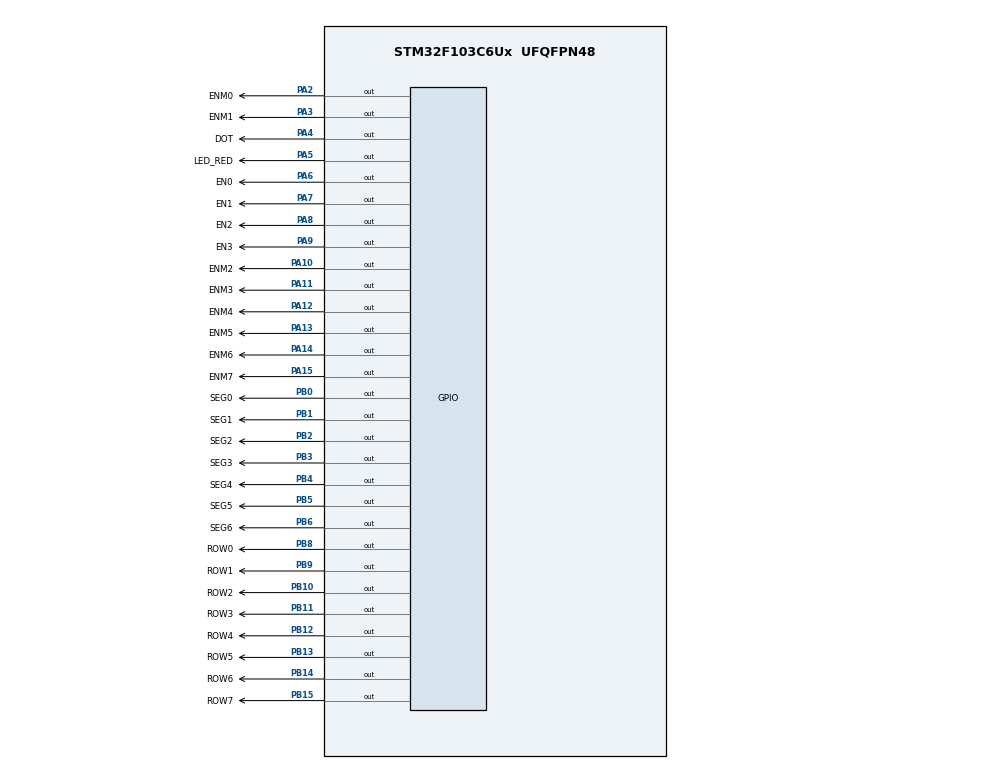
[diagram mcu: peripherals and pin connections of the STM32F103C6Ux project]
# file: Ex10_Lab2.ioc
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Mcu.Family=STM32F1
Mcu.Name=STM32F103C6Ux
Mcu.Package=UFQFPN48
NVIC.PriorityGroup=NVIC_PRIORITYGROUP_4
NVIC.TIM2_IRQn=true\:0\:0\:false\:false\:true\:true\:true\:true
PA10.GPIO_Label=ENM2
PA10.Signal=GPIO_Output
PA11.GPIO_Label=ENM3
PA11.Signal=GPIO_Output
PA12.GPIO_Label=ENM4
PA12.Signal=GPIO_Output
PA13.GPIO_Label=ENM5
PA13.Signal=GPIO_Output
PA14.GPIO_Label=ENM6
PA14.Signal=GPIO_Output
PA15.GPIO_Label=ENM7
PA15.Signal=GPIO_Output
PA2.GPIO_Label=ENM0
PA2.Signal=GPIO_Output
PA3.GPIO_Label=ENM1
PA3.Signal=GPIO_Output
PA4.GPIO_Label=DOT
PA4.Signal=GPIO_Output
PA5.GPIO_Label=LED_RED
PA5.Signal=GPIO_Output
PA6.GPIO_Label=EN0
PA6.Signal=GPIO_Output
PA7.GPIO_Label=EN1
PA7.Signal=GPIO_Output
PA8.GPIO_Label=EN2
PA8.Signal=GPIO_Output
PA9.GPIO_Label=EN3
PA9.Signal=GPIO_Output
PB0.GPIO_Label=SEG0
PB0.Signal=GPIO_Output
PB1.GPIO_Label=SEG1
PB1.Signal=GPIO_Output
PB10.GPIO_Label=ROW2
PB10.Signal=GPIO_Output
PB11.GPIO_Label=ROW3
PB11.Signal=GPIO_Output
PB12.GPIO_Label=ROW4
PB12.Signal=GPIO_Output
PB13.GPIO_Label=ROW5
PB13.Signal=GPIO_Output
PB14.GPIO_Label=ROW6
PB14.Signal=GPIO_Output
PB15.GPIO_Label=ROW7
PB15.Signal=GPIO_Output
PB2.GPIO_Label=SEG2
PB2.Signal=GPIO_Output
PB3.GPIO_Label=SEG3
PB3.Signal=GPIO_Output
PB4.GPIO_Label=SEG4
PB4.Signal=GPIO_Output
PB5.GPIO_Label=SEG5
PB5.Signal=GPIO_Output
PB6.GPIO_Label=SEG6
PB6.Signal=GPIO_Output
PB8.GPIO_Label=ROW0
PB8.Signal=GPIO_Output
PB9.GPIO_Label=ROW1
PB9.Signal=GPIO_Output
ProjectManager.HeapSize=0x200
ProjectManager.StackSize=0x400
ProjectManager.TargetToolchain=STM32CubeIDE
RCC.APB1Freq_Value=8000000
RCC.APB2Freq_Value=8000000
TIM2.Period=9
TIM2.Prescaler=7999
VP_TIM2_VS_ClockSourceINT.Mode=Internal
board=custom

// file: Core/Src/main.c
/* USER CODE BEGIN Header */
/**
  ******************************************************************************
  * @file           : main.c
  * @brief          : Main program body
  ******************************************************************************
  * @attention
  *
  * Copyright (c) 2022 STMicroelectronics.
  * All rights reserved.
  *
  * This software is licensed under terms that can be found in the LICENSE file
  * in the root directory of this software component.
  * If no LICENSE file comes with this software, it is provided AS-IS.
  *
  ******************************************************************************
  */
/* USER CODE END Header */
#include "main.h"

/* USER CODE BEGIN Includes */
#include "SoftwareTimer.h"
/* USER CODE END Includes */

TIM_HandleTypeDef htim2;

void SystemClock_Config(void);
static void MX_GPIO_Init(void);
static void MX_TIM2_Init(void);
/* USER CODE BEGIN PFP */
void displayColumn(uint8_t number){
	HAL_GPIO_WritePin(ROW0_GPIO_Port, ROW0_Pin, (number&0x1));
	number=number>>1;
	HAL_GPIO_WritePin(ROW1_GPIO_Port, ROW1_Pin, (number&0x1));
	number=number>>1;
	HAL_GPIO_WritePin(ROW2_GPIO_Port, ROW2_Pin, (number&0x1));
	number=number>>1;
	HAL_GPIO_WritePin(ROW3_GPIO_Port, ROW3_Pin, (number&0x1));
	number=number>>1;
	HAL_GPIO_WritePin(ROW4_GPIO_Port, ROW4_Pin, (number&0x1));
	number=number>>1;
	HAL_GPIO_WritePin(ROW5_GPIO_Port, ROW5_Pin, (number&0x1));
	number=number>>1;
	HAL_GPIO_WritePin(ROW6_GPIO_Port, ROW6_Pin, (number&0x1));
	number=number>>1;
	HAL_GPIO_WritePin(ROW7_GPIO_Port, ROW7_Pin, (number&0x1));
}

const int MAX_LED_MATRIX=8;
int index_led_matrix=0;
uint8_t matrix_buffer[8]={0xFF,0x7,0xDB,0xDD,0xDD,0xDB,0x7,0xFF};
void updateLEDMatrix(int index, int shift_left){
	int real_index=index+shift_left;
	if(real_index>=MAX_LED_MATRIX)
		real_index=real_index%MAX_LED_MATRIX;
	switch(index){
		case 0:
			HAL_GPIO_WritePin(ENM0_GPIO_Port, ENM0_Pin, 0);
			HAL_GPIO_WritePin(ENM7_GPIO_Port, ENM7_Pin, 1);  //TURN OFF PREVIOUS COLUMN
			displayColumn(matrix_buffer[real_index]);
			break;
		case 1:
			HAL_GPIO_WritePin(ENM1_GPIO_Port, ENM1_Pin, 0);
			HAL_GPIO_WritePin(ENM0_GPIO_Port, ENM0_Pin, 1);  //TURN OFF PREVIOUS COLUMN
			displayColumn(matrix_buffer[real_index]);
			break;
		case 2:
			HAL_GPIO_WritePin(ENM2_GPIO_Port, ENM2_Pin, 0);
			HAL_GPIO_WritePin(ENM1_GPIO_Port, ENM1_Pin, 1);  //TURN OFF PREVIOUS COLUMN
			displayColumn(matrix_buffer[real_index]);
			break;
		case 3:
			HAL_GPIO_WritePin(ENM3_GPIO_Port, ENM3_Pin, 0);
			HAL_GPIO_WritePin(ENM2_GPIO_Port, ENM2_Pin, 1);  //TURN OFF PREVIOUS COLUMN
			displayColumn(matrix_buffer[real_index]);
			break;
		case 4:
			HAL_GPIO_WritePin(ENM4_GPIO_Port, ENM4_Pin, 0);
			HAL_GPIO_WritePin(ENM3_GPIO_Port, ENM3_Pin, 1);  //TURN OFF PREVIOUS COLUMN
			displayColumn(matrix_buffer[real_index]);
			break;
		case 5:
			HAL_GPIO_WritePin(ENM5_GPIO_Port, ENM5_Pin, 0);
			HAL_GPIO_WritePin(ENM4_GPIO_Port, ENM4_Pin, 1);  //TURN OFF PREVIOUS COLUMN
			displayColumn(matrix_buffer[real_index]);
			break;
		case 6:
			HAL_GPIO_WritePin(ENM6_GPIO_Port, ENM6_Pin, 0);
			HAL_GPIO_WritePin(ENM5_GPIO_Port, ENM5_Pin, 1);  //TURN OFF PREVIOUS COLUMN
			displayColumn(matrix_buffer[real_index]);
			break;
		case 7:
			HAL_GPIO_WritePin(ENM7_GPIO_Port, ENM7_Pin, 0);
			HAL_GPIO_WritePin(ENM6_GPIO_Port, ENM6_Pin, 1);  //TURN OFF PREVIOUS COLUMN
			displayColumn(matrix_buffer[real_index]);
			break;
	}
}
/* USER CODE END PFP */

int main(void)
{

  /* MCU Configuration--------------------------------------------------------*/

  /* Reset of all peripherals, Initializes the Flash interface and the Systick. */
  HAL_Init();

  /* Configure the system clock */
  SystemClock_Config();

  /* Initialize all configured peripherals */
  MX_GPIO_Init();
  MX_TIM2_Init();
  /* USER CODE BEGIN 2 */
  //TURN OFF ALL LED

  HAL_TIM_Base_Start_IT(&htim2);
  //DISABLE ALL COLUMN
  HAL_GPIO_WritePin(ENM0_GPIO_Port, ENM0_Pin, 1);
  HAL_GPIO_WritePin(ENM1_GPIO_Port, ENM1_Pin, 1);
  HAL_GPIO_WritePin(ENM2_GPIO_Port, ENM2_Pin, 1);
  HAL_GPIO_WritePin(ENM3_GPIO_Port, ENM3_Pin, 1);
  HAL_GPIO_WritePin(ENM4_GPIO_Port, ENM4_Pin, 1);
  HAL_GPIO_WritePin(ENM5_GPIO_Port, ENM5_Pin, 1);
  HAL_GPIO_WritePin(ENM6_GPIO_Port, ENM6_Pin, 1);
  HAL_GPIO_WritePin(ENM7_GPIO_Port, ENM7_Pin, 1);

  int shift_left=0;
  /* USER CODE END 2 */

  /* Infinite loop */
  /* USER CODE BEGIN WHILE */
  setTimer1(50);
  setTimer2(1000);
  while (1)
  {
	  if(timer1_flag==1){
		  setTimer1(50);
		  updateLEDMatrix(index_led_matrix,shift_left);
		  index_led_matrix++;
		  if(timer2_flag==1){
			  setTimer2(1000);
			  shift_left++;
			  shift_left=shift_left%16; //avoid integer overflow
		  }
		  if(index_led_matrix>=MAX_LED_MATRIX){
			  index_led_matrix=0;
		  }
	  }
    /* USER CODE END WHILE */

  }
}

void SystemClock_Config(void)
{
  RCC_OscInitTypeDef RCC_OscInitStruct = {0};
  RCC_ClkInitTypeDef RCC_ClkInitStruct = {0};

  /** Initializes the RCC Oscillators according to the specified parameters
  * in the RCC_OscInitTypeDef structure.
  */
  RCC_OscInitStruct.OscillatorType = RCC_OSCILLATORTYPE_HSI;
  RCC_OscInitStruct.HSIState = RCC_HSI_ON;
  RCC_OscInitStruct.HSICalibrationValue = RCC_HSICALIBRATION_DEFAULT;
  RCC_OscInitStruct.PLL.PLLState = RCC_PLL_NONE;
  if (HAL_RCC_OscConfig(&RCC_OscInitStruct) != HAL_OK)
  {
    Error_Handler();
  }

  /** Initializes the CPU, AHB and APB buses clocks
  */
  RCC_ClkInitStruct.ClockType = RCC_CLOCKTYPE_HCLK|RCC_CLOCKTYPE_SYSCLK
                              |RCC_CLOCKTYPE_PCLK1|RCC_CLOCKTYPE_PCLK2;
  RCC_ClkInitStruct.SYSCLKSource = RCC_SYSCLKSOURCE_HSI;
  RCC_ClkInitStruct.AHBCLKDivider = RCC_SYSCLK_DIV1;
  RCC_ClkInitStruct.APB1CLKDivider = RCC_HCLK_DIV1;
  RCC_ClkInitStruct.APB2CLKDivider = RCC_HCLK_DIV1;

  if (HAL_RCC_ClockConfig(&RCC_ClkInitStruct, FLASH_LATENCY_0) != HAL_OK)
  {
    Error_Handler();
  }
}

static void MX_TIM2_Init(void)
{

  TIM_ClockConfigTypeDef sClockSourceConfig = {0};
  TIM_MasterConfigTypeDef sMasterConfig = {0};

  htim2.Instance = TIM2;
  htim2.Init.Prescaler = 7999;
  htim2.Init.CounterMode = TIM_COUNTERMODE_UP;
  htim2.Init.Period = 9;
  htim2.Init.ClockDivision = TIM_CLOCKDIVISION_DIV1;
  htim2.Init.AutoReloadPreload = TIM_AUTORELOAD_PRELOAD_DISABLE;
  if (HAL_TIM_Base_Init(&htim2) != HAL_OK)
  {
    Error_Handler();
  }
  sClockSourceConfig.ClockSource = TIM_CLOCKSOURCE_INTERNAL;
  if (HAL_TIM_ConfigClockSource(&htim2, &sClockSourceConfig) != HAL_OK)
  {
    Error_Handler();
  }
  sMasterConfig.MasterOutputTrigger = TIM_TRGO_RESET;
  sMasterConfig.MasterSlaveMode = TIM_MASTERSLAVEMODE_DISABLE;
  if (HAL_TIMEx_MasterConfigSynchronization(&htim2, &sMasterConfig) != HAL_OK)
  {
    Error_Handler();
  }

}

static void MX_GPIO_Init(void)
{
  GPIO_InitTypeDef GPIO_InitStruct = {0};

  /* GPIO Ports Clock Enable */
  __HAL_RCC_GPIOA_CLK_ENABLE();
  __HAL_RCC_GPIOB_CLK_ENABLE();

  /*Configure GPIO pin Output Level */
  HAL_GPIO_WritePin(GPIOA, ENM0_Pin|ENM1_Pin|DOT_Pin|LED_RED_Pin
                          |EN0_Pin|EN1_Pin|EN2_Pin|EN3_Pin
                          |ENM2_Pin|ENM3_Pin|ENM4_Pin|ENM5_Pin
                          |ENM6_Pin|ENM7_Pin, GPIO_PIN_RESET);

  /*Configure GPIO pin Output Level */
  HAL_GPIO_WritePin(GPIOB, SEG0_Pin|SEG1_Pin|SEG2_Pin|ROW2_Pin
                          |ROW3_Pin|ROW4_Pin|ROW5_Pin|ROW6_Pin
                          |ROW7_Pin|SEG3_Pin|SEG4_Pin|SEG5_Pin
                          |SEG6_Pin|ROW0_Pin|ROW1_Pin, GPIO_PIN_RESET);

  /*Configure GPIO pins : ENM0_Pin ENM1_Pin DOT_Pin LED_RED_Pin
                           EN0_Pin EN1_Pin EN2_Pin EN3_Pin
                           ENM2_Pin ENM3_Pin ENM4_Pin ENM5_Pin
                           ENM6_Pin ENM7_Pin */
  GPIO_InitStruct.Pin = ENM0_Pin|ENM1_Pin|DOT_Pin|LED_RED_Pin
                          |EN0_Pin|EN1_Pin|EN2_Pin|EN3_Pin
                          |ENM2_Pin|ENM3_Pin|ENM4_Pin|ENM5_Pin
                          |ENM6_Pin|ENM7_Pin;
  GPIO_InitStruct.Mode = GPIO_MODE_OUTPUT_PP;
  GPIO_InitStruct.Pull = GPIO_NOPULL;
  GPIO_InitStruct.Speed = GPIO_SPEED_FREQ_LOW;
  HAL_GPIO_Init(GPIOA, &GPIO_InitStruct);

  /*Configure GPIO pins : SEG0_Pin SEG1_Pin SEG2_Pin ROW2_Pin
                           ROW3_Pin ROW4_Pin ROW5_Pin ROW6_Pin
                           ROW7_Pin SEG3_Pin SEG4_Pin SEG5_Pin
                           SEG6_Pin ROW0_Pin ROW1_Pin */
  GPIO_InitStruct.Pin = SEG0_Pin|SEG1_Pin|SEG2_Pin|ROW2_Pin
                          |ROW3_Pin|ROW4_Pin|ROW5_Pin|ROW6_Pin
                          |ROW7_Pin|SEG3_Pin|SEG4_Pin|SEG5_Pin
                          |SEG6_Pin|ROW0_Pin|ROW1_Pin;
  GPIO_InitStruct.Mode = GPIO_MODE_OUTPUT_PP;
  GPIO_InitStruct.Pull = GPIO_NOPULL;
  GPIO_InitStruct.Speed = GPIO_SPEED_FREQ_LOW;
  HAL_GPIO_Init(GPIOB, &GPIO_InitStruct);

}

/* USER CODE BEGIN 4 */
int counter_LED=25;

void HAL_TIM_PeriodElapsedCallback(TIM_HandleTypeDef*htim){
	TimerRun();
}
/* USER CODE END 4 */

void Error_Handler(void)
{
  __disable_irq();
  while (1)
  {
  }
}
